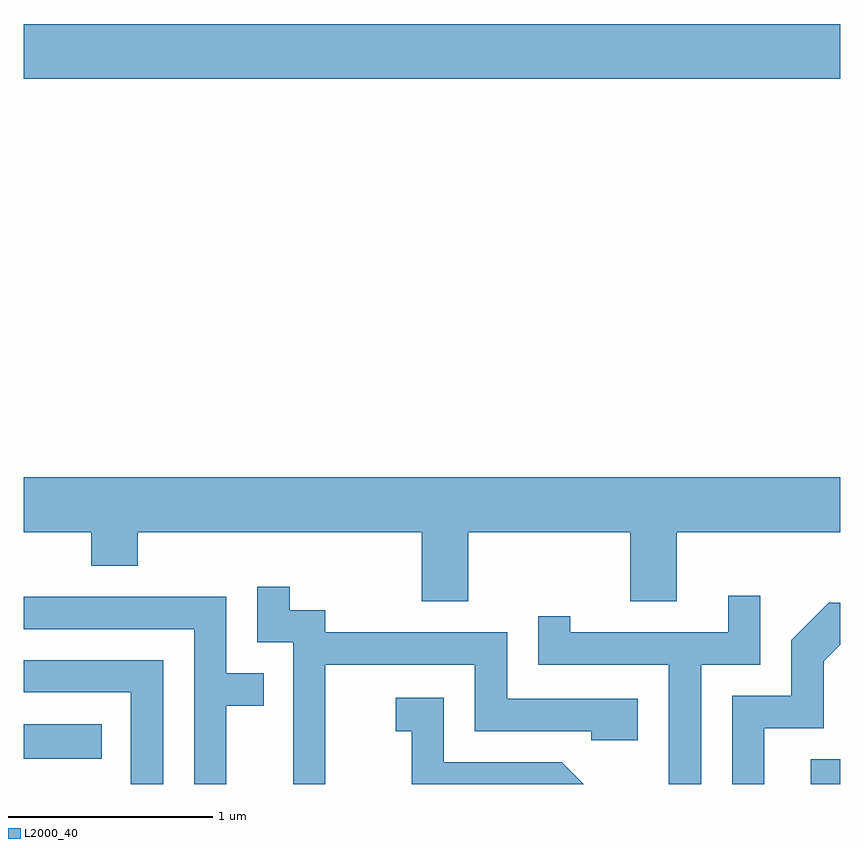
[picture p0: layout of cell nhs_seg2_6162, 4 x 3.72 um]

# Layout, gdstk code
import gdstk
lib = gdstk.Library(unit=1e-6, precision=1e-09)
def R(c, l, rs):  # rectangles x0, y0, x1, y1
    for r in rs: c.add(gdstk.rectangle(r[:2], r[2:], *l))
def P(c, l, *ps):  # polygons
    for p in ps: c.add(gdstk.Polygon(p, *l))
L2000_40 = (2000, 40)

nhs_seg2_6162 = lib.new_cell('nhs_seg2_6162')
R(nhs_seg2_6162, L2000_40, [(371.466,993.802,371.611,993.924), (367.611,993.926,367.993,994.094), (367.611,997.256,371.611,997.524)])
P(nhs_seg2_6162, L2000_40, [(369.789,995.036),(370.581,995.036),(370.581,994.696),(370.809,994.696),(370.809,995.036),(371.611,995.036),(371.611,995.304),(367.611,995.304),(367.611,995.036),(367.941,995.036),(367.941,994.871),(368.169,994.871),(368.169,995.036),(369.561,995.036),(369.561,994.696),(369.789,994.696)],
  [(369.089,994.386),(369.821,994.386),(369.821,994.061),(370.391,994.061),(370.391,994.016),(370.619,994.016),(370.619,994.219),(369.979,994.219),(369.979,994.544),(369.089,994.544),(369.089,994.654),(368.914,994.654),(368.914,994.768),(368.756,994.768),(368.756,994.496),(368.931,994.496),(368.931,993.802),(369.089,993.802)],
  [(370.929,994.386),(371.219,994.386),(371.219,994.723),(371.061,994.723),(371.061,994.544),(370.289,994.544),(370.289,994.623),(370.131,994.623),(370.131,994.386),(370.771,994.386),(370.771,993.802),(370.929,993.802)],
  [(368.604,994.186),(368.788,994.186),(368.788,994.344),(368.604,994.344),(368.604,994.719),(367.611,994.719),(367.611,994.561),(368.446,994.561),(368.446,993.802),(368.604,993.802)],
  [(371.239,994.076),(371.529,994.076),(371.529,994.404),(371.611,994.485),(371.611,994.689),(371.554,994.689),(371.371,994.507),(371.371,994.234),(371.081,994.234),(371.081,993.802),(371.239,993.802)],
  [(368.294,994.409),(367.611,994.409),(367.611,994.251),(368.136,994.251),(368.136,993.802),(368.294,993.802)],
  [(370.247,993.909),(369.669,993.909),(369.669,994.224),(369.433,994.224),(369.433,994.061),(369.511,994.061),(369.511,993.802),(370.354,993.802)])

lib.write_gds('nhs_seg2_6162.gds')
